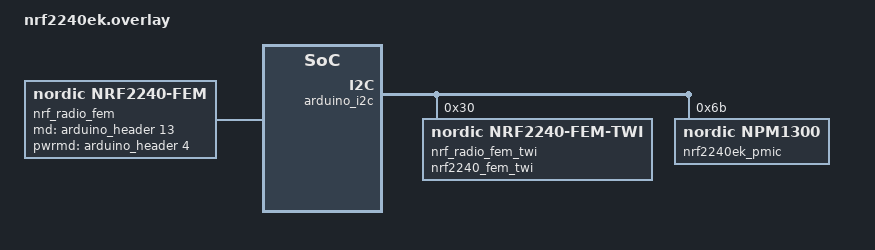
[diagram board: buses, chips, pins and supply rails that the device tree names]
/* Copyright (c) 2024 Nordic Semiconductor ASA
 *
 * SPDX-License-Identifier: LicenseRef-Nordic-5-Clause
 */

/* Pin mapping suitable for use nRF2240-EK PCA63564 with
 * Nordic Interposer Board A PCA64172 v0.2.0.
 * The nRF2240-EK in SLOT 2 of PCA64172.
 */

/ {
	nrf_radio_fem: nrf2240_fem {
		compatible = "nordic,nrf2240-fem";
		cs-gpios = <&arduino_header 14 GPIO_ACTIVE_HIGH>;	/* D8 */
		md-gpios = <&arduino_header 13 GPIO_ACTIVE_HIGH>;	/* D7 */
		pwrmd-gpios = <&arduino_header 4 GPIO_ACTIVE_HIGH>;	/* A4 */
		twi-if = <&nrf_radio_fem_twi>;
	};
};

&arduino_i2c {
	status = "okay";
	compatible = "nordic,nrf-twim";

	nrf_radio_fem_twi: nrf2240_fem_twi@30 {
		compatible = "nordic,nrf2240-fem-twi";
		status = "okay";
		reg = <0x30>;
	};

	/* The nPM1300 on the nRF2240EK is used to supply power to the nRF2240 device. */
	nrf2240ek_pmic: pmic@6b {
		compatible = "nordic,npm1300";
		status = "okay";
		reg = <0x6b>;

		nrf2240ek_pmic_charger: charger {
			compatible = "nordic,npm1300-charger";
			status = "okay";
			/* When objects are placed close to the PCB antenna of the nRF2240EK shield
			 * the supply voltage drops on the nRF2240 power supply pin VDDPALDO were observed.
			 * As a workaround the current limit on VBUS of the PMIC is increased.
			 */
			vbus-limit-microamp = <500000>;
			/* This PMIC does not have a battery, but the settings below are required by the driver */
			term-microvolt = <4150000>;
			current-microamp = <150000>;
			dischg-limit-microamp = <1000000>;
			thermistor-ohms = <10000>;
			thermistor-beta = <3380>;
		};
	};
};
